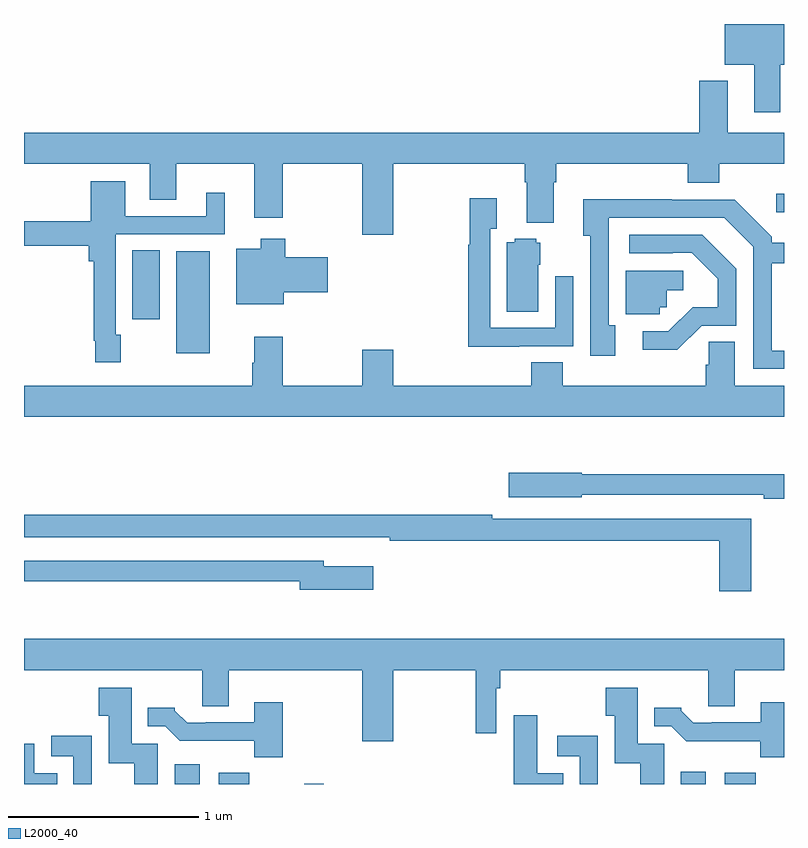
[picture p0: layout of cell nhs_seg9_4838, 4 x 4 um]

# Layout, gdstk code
import gdstk
lib = gdstk.Library(unit=1e-6, precision=1e-09)
def R(c, l, rs):  # rectangles x0, y0, x1, y1
    for r in rs: c.add(gdstk.rectangle(r[:2], r[2:], *l))
def P(c, l, *ps):  # polygons
    for p in ps: c.add(gdstk.Polygon(p, *l))
L2000_40 = (2000, 40)

nhs_seg9_4838 = lib.new_cell('nhs_seg9_4838')
R(nhs_seg9_4838, L2000_40, [(391.793,1182.5,391.924,1182.604), (392.024,1182.5,392.186,1182.559), (392.474,1182.5,392.578,1182.502), (394.457,1182.5,394.588,1182.565), (394.688,1182.5,394.85,1182.559), (391.802,1184.768,391.978,1185.304), (391.571,1184.946,391.714,1185.308), (394.959,1185.509,395,1185.607)])
P(nhs_seg9_4838, L2000_40, [(394.981,1186.286),(395,1186.286),(395,1186.5),(394.688,1186.5),(394.688,1186.286),(394.844,1186.286),(394.844,1186.035),(394.981,1186.035)],
  [(392.944,1185.764),(393.635,1185.764),(393.635,1185.668),(393.647,1185.668),(393.647,1185.455),(393.787,1185.455),(393.787,1185.668),(393.8,1185.668),(393.8,1185.764),(394.493,1185.764),(394.493,1185.665),(394.658,1185.665),(394.658,1185.764),(395,1185.764),(395,1185.928),(394.705,1185.928),(394.705,1186.201),(394.553,1186.201),(394.553,1185.928),(391,1185.928),(391,1185.764),(391.661,1185.764),(391.661,1185.574),(391.801,1185.574),(391.801,1185.764),(392.213,1185.764),(392.213,1185.48),(392.361,1185.48),(392.361,1185.764),(392.78,1185.764),(392.78,1185.39),(392.944,1185.39)],
  [(391.509,1184.865),(391.482,1184.865),(391.482,1185.393),(392.056,1185.393),(392.056,1185.613),(391.958,1185.613),(391.958,1185.489),(391.534,1185.489),(391.534,1185.673),(391.352,1185.673),(391.352,1185.463),(391,1185.463),(391,1185.334),(391.34,1185.334),(391.34,1185.251),(391.366,1185.251),(391.366,1184.833),(391.374,1184.833),(391.374,1184.721),(391.509,1184.721)],
  [(393.607,1184.805),(393.891,1184.805),(393.891,1185.172),(393.795,1185.172),(393.795,1184.901),(393.453,1184.901),(393.453,1185.422),(393.487,1185.422),(393.487,1185.583),(393.345,1185.583),(393.345,1185.338),(393.337,1185.338),(393.337,1184.801),(393.607,1184.801)],
  [(395,1184.781),(394.936,1184.781),(394.936,1185.24),(395,1185.24),(395,1185.349),(394.935,1185.349),(394.935,1185.381),(394.74,1185.576),(394.409,1185.576),(394.409,1185.578),(393.944,1185.578),(393.944,1185.386),(393.981,1185.386),(393.981,1184.754),(394.111,1184.754),(394.111,1184.914),(394.077,1184.914),(394.077,1185.48),(394.686,1185.48),(394.839,1185.327),(394.839,1184.685),(395,1184.685)],
  [(394.566,1184.913),(394.749,1184.913),(394.749,1185.211),(394.57,1185.39),(394.185,1185.39),(394.185,1185.294),(394.415,1185.294),(394.415,1185.297),(394.515,1185.297),(394.652,1185.16),(394.652,1185.01),(394.519,1185.01),(394.392,1184.883),(394.257,1184.883),(394.257,1184.786),(394.438,1184.786)],
  [(392.368,1185.089),(392.599,1185.089),(392.599,1185.272),(392.376,1185.272),(392.376,1185.37),(392.246,1185.37),(392.246,1185.316),(392.117,1185.316),(392.117,1185.026),(392.368,1185.026)],
  [(393.706,1185.234),(393.718,1185.234),(393.718,1185.348),(393.696,1185.348),(393.696,1185.37),(393.582,1185.37),(393.582,1185.352),(393.542,1185.352),(393.542,1184.986),(393.706,1184.986)],
  [(394.347,1185.009),(394.383,1185.009),(394.383,1185.098),(394.471,1185.098),(394.471,1185.201),(394.166,1185.201),(394.166,1184.973),(394.347,1184.973)],
  [(395,1184.596),(394.741,1184.596),(394.741,1184.828),(394.603,1184.828),(394.603,1184.706),(394.589,1184.706),(394.589,1184.596),(393.836,1184.596),(393.836,1184.72),(393.671,1184.72),(393.671,1184.596),(392.944,1184.596),(392.944,1184.785),(392.78,1184.785),(392.78,1184.596),(392.361,1184.596),(392.361,1184.854),(392.213,1184.854),(392.213,1184.717),(392.201,1184.717),(392.201,1184.596),(391,1184.596),(391,1184.432),(395,1184.432)],
  [(395,1184.131),(393.936,1184.131),(393.936,1184.139),(393.552,1184.139),(393.552,1184.009),(393.936,1184.009),(393.936,1184.022),(394.894,1184.022),(394.894,1184.002),(395,1184.002)],
  [(394.828,1183.896),(393.464,1183.896),(393.464,1183.916),(391,1183.916),(391,1183.8),(392.674,1183.8),(392.674,1183.799),(392.926,1183.799),(392.926,1183.78),(394.658,1183.78),(394.658,1183.515),(394.828,1183.515)],
  [(392.839,1183.645),(392.578,1183.645),(392.578,1183.674),(391,1183.674),(391,1183.566),(392.45,1183.566),(392.45,1183.523),(392.839,1183.523)],
  [(391,1183.1),(391.937,1183.1),(391.937,1182.91),(392.077,1182.91),(392.077,1183.1),(392.78,1183.1),(392.78,1182.726),(392.944,1182.726),(392.944,1183.1),(393.378,1183.1),(393.378,1182.768),(393.486,1182.768),(393.486,1183.004),(393.506,1183.004),(393.506,1183.1),(394.601,1183.1),(394.601,1182.91),(394.741,1182.91),(394.741,1183.1),(395,1183.1),(395,1183.264),(391,1183.264)],
  [(391.705,1182.711),(391.567,1182.711),(391.567,1183.006),(391.394,1183.006),(391.394,1182.859),(391.445,1182.859),(391.445,1182.608),(391.58,1182.608),(391.58,1182.5),(391.705,1182.5)],
  [(394.369,1182.711),(394.231,1182.711),(394.231,1183.006),(394.063,1183.006),(394.063,1182.859),(394.109,1182.859),(394.109,1182.608),(394.244,1182.608),(394.244,1182.5),(394.369,1182.5)],
  [(395,1182.931),(394.877,1182.931),(394.877,1182.825),(394.621,1182.825),(394.621,1182.822),(394.522,1182.822),(394.458,1182.886),(394.458,1182.901),(394.316,1182.901),(394.316,1182.804),(394.407,1182.804),(394.486,1182.726),(394.875,1182.726),(394.875,1182.641),(395,1182.641)],
  [(392.361,1182.931),(392.213,1182.931),(392.213,1182.825),(391.957,1182.825),(391.957,1182.822),(391.858,1182.822),(391.794,1182.886),(391.794,1182.901),(391.652,1182.901),(391.652,1182.804),(391.743,1182.804),(391.819,1182.728),(392.211,1182.728),(392.211,1182.641),(392.361,1182.641)],
  [(393.839,1182.556),(393.7,1182.556),(393.7,1182.862),(393.578,1182.862),(393.578,1182.5),(393.839,1182.5)],
  [(394.02,1182.754),(393.807,1182.754),(393.807,1182.645),(393.924,1182.645),(393.924,1182.5),(394.02,1182.5)],
  [(391.356,1182.754),(391.143,1182.754),(391.143,1182.645),(391.26,1182.645),(391.26,1182.5),(391.356,1182.5)],
  [(391.175,1182.556),(391.054,1182.556),(391.054,1182.713),(391,1182.713),(391,1182.5),(391.175,1182.5)])

lib.write_gds('nhs_seg9_4838.gds')
